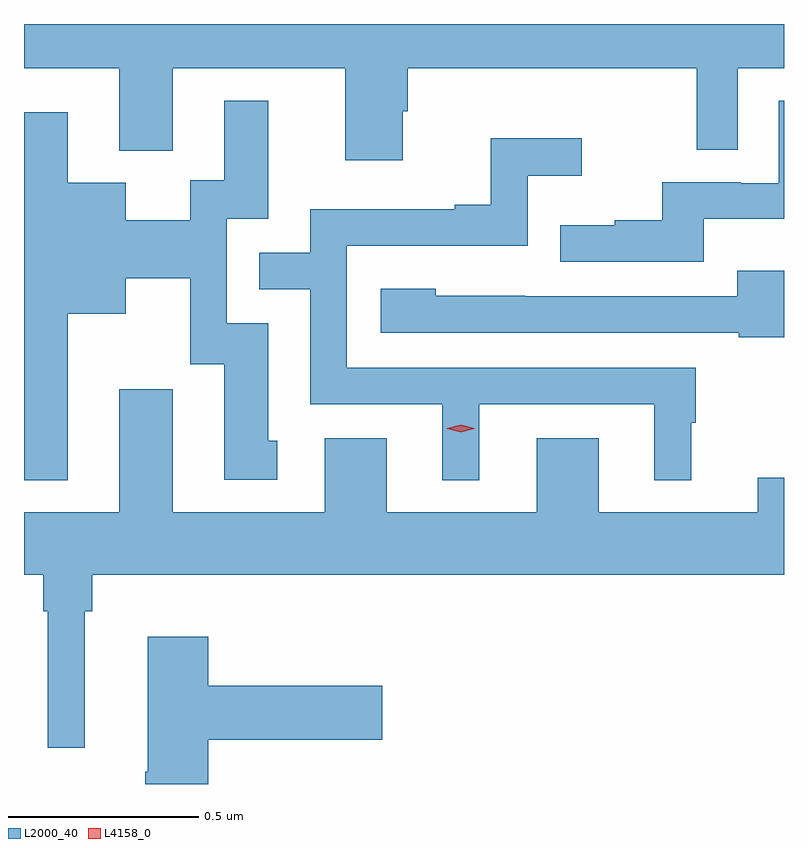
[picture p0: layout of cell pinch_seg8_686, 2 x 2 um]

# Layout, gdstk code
import gdstk
lib = gdstk.Library(unit=1e-6, precision=1e-09)
def P(c, l, *ps):  # polygons
    for p in ps: c.add(gdstk.Polygon(p, *l))
L2000_40 = (2000, 40)
L4158_0 = (4158, 0)

pinch_seg8_686 = lib.new_cell('pinch_seg8_686')
P(pinch_seg8_686, L2000_40, [(303.871,1096.407),(303.884,1096.407),(303.884,1096.52),(304.644,1096.52),(304.644,1096.306),(304.752,1096.306),(304.752,1096.52),(304.874,1096.52),(304.874,1096.637),(302.874,1096.637),(302.874,1096.52),(303.125,1096.52),(303.125,1096.304),(303.265,1096.304),(303.265,1096.52),(303.719,1096.52),(303.719,1096.278),(303.871,1096.278)],
  [(302.989,1095.875),(303.142,1095.875),(303.142,1095.968),(303.312,1095.968),(303.312,1095.741),(303.401,1095.741),(303.401,1095.438),(303.541,1095.438),(303.541,1095.54),(303.517,1095.54),(303.517,1095.849),(303.408,1095.849),(303.408,1096.125),(303.517,1096.125),(303.517,1096.435),(303.401,1096.435),(303.401,1096.226),(303.311,1096.226),(303.311,1096.12),(303.142,1096.12),(303.142,1096.219),(302.989,1096.219),(302.989,1096.405),(302.874,1096.405),(302.874,1095.437),(302.989,1095.437)],
  [(304.663,1096.124),(304.874,1096.124),(304.874,1096.435),(304.86,1096.435),(304.86,1096.218),(304.76,1096.218),(304.76,1096.221),(304.553,1096.221),(304.553,1096.12),(304.429,1096.12),(304.429,1096.108),(304.285,1096.108),(304.285,1096.011),(304.663,1096.011)],
  [(304.072,1095.636),(304.532,1095.636),(304.532,1095.437),(304.63,1095.437),(304.63,1095.588),(304.642,1095.588),(304.642,1095.732),(303.723,1095.732),(303.723,1096.053),(304.2,1096.053),(304.2,1096.238),(304.342,1096.238),(304.342,1096.337),(304.102,1096.337),(304.102,1096.162),(304.007,1096.162),(304.007,1096.149),(303.627,1096.149),(303.627,1096.035),(303.493,1096.035),(303.493,1095.939),(303.627,1095.939),(303.627,1095.636),(303.974,1095.636),(303.974,1095.437),(304.072,1095.437)],
  [(304.874,1095.988),(304.751,1095.988),(304.751,1095.921),(304.193,1095.921),(304.193,1095.922),(303.957,1095.922),(303.957,1095.94),(303.813,1095.94),(303.813,1095.825),(304.755,1095.825),(304.755,1095.813),(304.874,1095.813)],
  [(303.034,1095.092),(303.053,1095.092),(303.053,1095.188),(304.874,1095.188),(304.874,1095.443),(304.805,1095.443),(304.805,1095.352),(304.387,1095.352),(304.387,1095.547),(304.223,1095.547),(304.223,1095.352),(303.829,1095.352),(303.829,1095.547),(303.665,1095.547),(303.665,1095.352),(303.265,1095.352),(303.265,1095.676),(303.125,1095.676),(303.125,1095.352),(302.874,1095.352),(302.874,1095.188),(302.924,1095.188),(302.924,1095.092),(302.937,1095.092),(302.937,1094.733),(303.034,1094.733)],
  [(303.359,1094.753),(303.817,1094.753),(303.817,1094.895),(303.359,1094.895),(303.359,1095.025),(303.2,1095.025),(303.2,1094.669),(303.193,1094.669),(303.193,1094.637),(303.359,1094.637)])
P(pinch_seg8_686, L4158_0, [(304.023,1095.563),(303.988,1095.572),(303.987,1095.573),(303.988,1095.573),(304.023,1095.583),(304.059,1095.573),(304.059,1095.573),(304.059,1095.572)])

lib.write_gds('pinch_seg8_686.gds')
